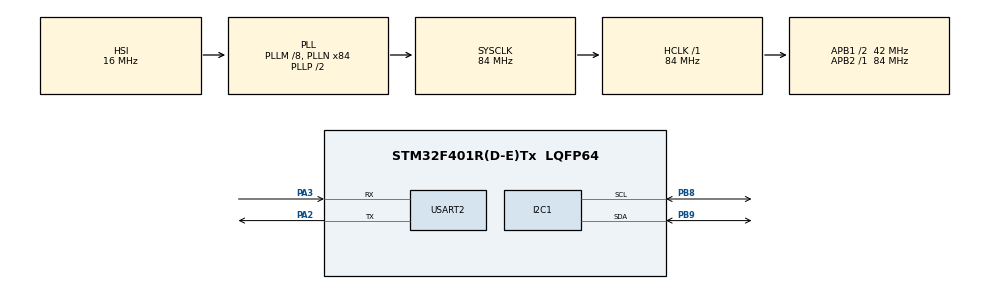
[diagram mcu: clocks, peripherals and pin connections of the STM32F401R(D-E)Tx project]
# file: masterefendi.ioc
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I2C1.I2C_Mode=I2C_Fast
Mcu.Family=STM32F4
Mcu.Name=STM32F401R(D-E)Tx
Mcu.Package=LQFP64
NVIC.I2C1_ER_IRQn=true\:0\:0\:false\:false\:true\:true\:true\:true
NVIC.I2C1_EV_IRQn=true\:0\:0\:false\:false\:true\:true\:true\:true
NVIC.PriorityGroup=NVIC_PRIORITYGROUP_4
PA2.Mode=Asynchronous
PA2.Signal=USART2_TX
PA3.Mode=Asynchronous
PA3.Signal=USART2_RX
PB8.Mode=I2C
PB8.Signal=I2C1_SCL
PB9.Mode=I2C
PB9.Signal=I2C1_SDA
ProjectManager.HeapSize=0x200
ProjectManager.StackSize=0x400
ProjectManager.TargetToolchain=STM32CubeIDE
RCC.48MHZClocksFreq_Value=42000000
RCC.AHBFreq_Value=84000000
RCC.APB1CLKDivider=RCC_HCLK_DIV2
RCC.APB1Freq_Value=42000000
RCC.APB1TimFreq_Value=84000000
RCC.APB2Freq_Value=84000000
RCC.APB2TimFreq_Value=84000000
RCC.CortexFreq_Value=84000000
RCC.HCLKFreq_Value=84000000
RCC.HSE_VALUE=25000000
RCC.HSI_VALUE=16000000
RCC.LSE_VALUE=32768
RCC.PLLM=8
RCC.PLLN=84
RCC.SYSCLKFreq_VALUE=84000000
RCC.SYSCLKSource=RCC_SYSCLKSOURCE_PLLCLK
RCC.VCOOutputFreq_Value=168000000
USART2.VirtualMode=VM_ASYNC
board=custom

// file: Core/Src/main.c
/* USER CODE BEGIN Header */
/**
  ******************************************************************************
  * @file           : main.c
  * @brief          : Main program body
  ******************************************************************************
  * @attention
  *
  * Copyright (c) 2026 STMicroelectronics.
  * All rights reserved.
  *
  * This software is licensed under terms that can be found in the LICENSE file
  * in the root directory of this software component.
  * If no LICENSE file comes with this software, it is provided AS-IS.
  *
  ******************************************************************************
  */
/* USER CODE END Header */
#include "main.h"

/* USER CODE BEGIN Includes */
#include <stdio.h>
#include <string.h>
/* USER CODE END Includes */

/* USER CODE BEGIN PTD */
typedef struct {
    uint8_t  header;       // 0xAA
    uint8_t  slave_id;     // slave adresi
    int16_t  temp1;        // sensör 1 (×10)
    int16_t  temp2;        // sensör 2 (×10)
    int16_t  temp3;        // sensör 3 (×10)
    uint8_t  checksum;     // XOR
} SlavePacket_t;
/* USER CODE END PTD */

/* USER CODE BEGIN PD */
#define SLAVE_ADDR    0x20        // slave 7-bit adresi (OwnAddress1=32)
#define PACKET_SIZE   9           // 9 byte paket
#define I2C_TIMEOUT   100         // ms
/* USER CODE END PD */

I2C_HandleTypeDef hi2c1;

UART_HandleTypeDef huart2;

/* USER CODE BEGIN PV */
uint8_t rx_buffer[PACKET_SIZE];
char    uart_buf[128];
/* USER CODE END PV */

void SystemClock_Config(void);
static void MX_GPIO_Init(void);
static void MX_I2C1_Init(void);
static void MX_USART2_UART_Init(void);
/* USER CODE BEGIN PFP */
uint8_t VerifyChecksum(uint8_t *buf, uint8_t len);
void    PrintData(uint8_t *buf);
/* USER CODE END PFP */

/* USER CODE BEGIN 0 */
// Checksum doğrula (son byte hariç tüm byteların XOR'u)
uint8_t VerifyChecksum(uint8_t *buf, uint8_t len)
{
    uint8_t calc = 0;
    for (uint8_t i = 0; i < len - 1; i++)
    {
        calc ^= buf[i];
    }
    return (calc == buf[len - 1]) ? 1 : 0;
}

// Veriyi USART2 üzerinden PC'ye gönder
void PrintData(uint8_t *buf)
{
    // int16 olarak al, /10 yaparak float'a çevir
    int16_t raw1 = (int16_t)((buf[2] << 8) | buf[3]);
    int16_t raw2 = (int16_t)((buf[4] << 8) | buf[5]);
    int16_t raw3 = (int16_t)((buf[6] << 8) | buf[7]);

    // tam ve ondalık kısımları ayır
    int t1_int = raw1 / 10;
    int t1_dec = raw1 % 10;
    if (t1_dec < 0) t1_dec = -t1_dec;

    int t2_int = raw2 / 10;
    int t2_dec = raw2 % 10;
    if (t2_dec < 0) t2_dec = -t2_dec;

    int t3_int = raw3 / 10;
    int t3_dec = raw3 % 10;
    if (t3_dec < 0) t3_dec = -t3_dec;

    int len = snprintf(uart_buf, sizeof(uart_buf),
        "SLAVE:0x%02X | T1:%d.%d C | T2:%d.%d C | T3:%d.%d C\r\n",
        buf[1],
        t1_int, t1_dec,
        t2_int, t2_dec,
        t3_int, t3_dec);

    HAL_UART_Transmit(&huart2, (uint8_t*)uart_buf, len, 100);
}
/* USER CODE END 0 */

int main(void)
{

  /* MCU Configuration--------------------------------------------------------*/

  /* Reset of all peripherals, Initializes the Flash interface and the Systick. */
  HAL_Init();

  /* Configure the system clock */
  SystemClock_Config();

  /* Initialize all configured peripherals */
  MX_GPIO_Init();
  MX_I2C1_Init();
  MX_USART2_UART_Init();
  /* USER CODE BEGIN 2 */
  snprintf(uart_buf, sizeof(uart_buf), "Master hazir...\r\n");
    HAL_UART_Transmit(&huart2, (uint8_t*)uart_buf, strlen(uart_buf), 100);
  /* USER CODE END 2 */

  /* Infinite loop */
  while (1)
   {

    /* USER CODE BEGIN 3 */

	  // Slave'den 9 byte iste
	     HAL_StatusTypeDef status = HAL_I2C_Master_Receive(
	                                     &hi2c1,
	                                     SLAVE_ADDR,
	                                     rx_buffer,
	                                     PACKET_SIZE,
	                                     I2C_TIMEOUT);

	     if (status == HAL_OK)
	     {
	         // Header kontrolü
	         if (rx_buffer[0] == 0xAA)
	         {
	             // Checksum kontrolü
	             if (VerifyChecksum(rx_buffer, PACKET_SIZE))
	             {
	                 PrintData(rx_buffer);
	             }
	             else
	             {
	                 HAL_UART_Transmit(&huart2,
	                     (uint8_t*)"CHECKSUM HATASI\r\n", 17, 100);
	             }
	         }
	         else
	         {
	             HAL_UART_Transmit(&huart2,
	                 (uint8_t*)"HEADER HATASI\r\n", 15, 100);
	         }
	     }
	     else
	     {
	         HAL_UART_Transmit(&huart2,
	             (uint8_t*)"I2C HATA\r\n", 10, 100);
	     }

	     HAL_Delay(1000);
   }
  // 1 saniyede bir oku
  /* USER CODE END 3 */
}

void SystemClock_Config(void)
{
  RCC_OscInitTypeDef RCC_OscInitStruct = {0};
  RCC_ClkInitTypeDef RCC_ClkInitStruct = {0};

  /** Configure the main internal regulator output voltage
  */
  __HAL_RCC_PWR_CLK_ENABLE();
  __HAL_PWR_VOLTAGESCALING_CONFIG(PWR_REGULATOR_VOLTAGE_SCALE2);

  /** Initializes the RCC Oscillators according to the specified parameters
  * in the RCC_OscInitTypeDef structure.
  */
  RCC_OscInitStruct.OscillatorType = RCC_OSCILLATORTYPE_HSI;
  RCC_OscInitStruct.HSIState = RCC_HSI_ON;
  RCC_OscInitStruct.HSICalibrationValue = RCC_HSICALIBRATION_DEFAULT;
  RCC_OscInitStruct.PLL.PLLState = RCC_PLL_ON;
  RCC_OscInitStruct.PLL.PLLSource = RCC_PLLSOURCE_HSI;
  RCC_OscInitStruct.PLL.PLLM = 8;
  RCC_OscInitStruct.PLL.PLLN = 84;
  RCC_OscInitStruct.PLL.PLLP = RCC_PLLP_DIV2;
  RCC_OscInitStruct.PLL.PLLQ = 4;
  if (HAL_RCC_OscConfig(&RCC_OscInitStruct) != HAL_OK)
  {
    Error_Handler();
  }

  /** Initializes the CPU, AHB and APB buses clocks
  */
  RCC_ClkInitStruct.ClockType = RCC_CLOCKTYPE_HCLK|RCC_CLOCKTYPE_SYSCLK
                              |RCC_CLOCKTYPE_PCLK1|RCC_CLOCKTYPE_PCLK2;
  RCC_ClkInitStruct.SYSCLKSource = RCC_SYSCLKSOURCE_PLLCLK;
  RCC_ClkInitStruct.AHBCLKDivider = RCC_SYSCLK_DIV1;
  RCC_ClkInitStruct.APB1CLKDivider = RCC_HCLK_DIV2;
  RCC_ClkInitStruct.APB2CLKDivider = RCC_HCLK_DIV1;

  if (HAL_RCC_ClockConfig(&RCC_ClkInitStruct, FLASH_LATENCY_2) != HAL_OK)
  {
    Error_Handler();
  }
}

static void MX_I2C1_Init(void)
{

  hi2c1.Instance = I2C1;
  hi2c1.Init.ClockSpeed = 400000;
  hi2c1.Init.DutyCycle = I2C_DUTYCYCLE_2;
  hi2c1.Init.OwnAddress1 = 0;
  hi2c1.Init.AddressingMode = I2C_ADDRESSINGMODE_7BIT;
  hi2c1.Init.DualAddressMode = I2C_DUALADDRESS_DISABLE;
  hi2c1.Init.OwnAddress2 = 0;
  hi2c1.Init.GeneralCallMode = I2C_GENERALCALL_DISABLE;
  hi2c1.Init.NoStretchMode = I2C_NOSTRETCH_DISABLE;
  if (HAL_I2C_Init(&hi2c1) != HAL_OK)
  {
    Error_Handler();
  }

}

static void MX_USART2_UART_Init(void)
{

  huart2.Instance = USART2;
  huart2.Init.BaudRate = 115200;
  huart2.Init.WordLength = UART_WORDLENGTH_8B;
  huart2.Init.StopBits = UART_STOPBITS_1;
  huart2.Init.Parity = UART_PARITY_NONE;
  huart2.Init.Mode = UART_MODE_TX_RX;
  huart2.Init.HwFlowCtl = UART_HWCONTROL_NONE;
  huart2.Init.OverSampling = UART_OVERSAMPLING_16;
  if (HAL_UART_Init(&huart2) != HAL_OK)
  {
    Error_Handler();
  }

}

static void MX_GPIO_Init(void)
{

  /* GPIO Ports Clock Enable */
  __HAL_RCC_GPIOA_CLK_ENABLE();
  __HAL_RCC_GPIOB_CLK_ENABLE();

}

/* USER CODE BEGIN 4 */
// I2C hata callback
// I2C hata callback
void HAL_I2C_ErrorCallback(I2C_HandleTypeDef *hi2c)
{
    if (hi2c->Instance == I2C1)
    {
        HAL_UART_Transmit(&huart2,
            (uint8_t*)"I2C CALLBACK HATA\r\n", 19, 100);
    }
}
/* USER CODE END 4 */

void Error_Handler(void)
{
  __disable_irq();
  while (1)
  {
  }
}
